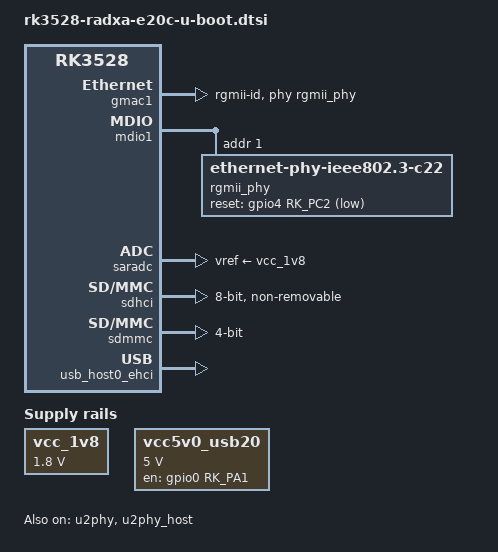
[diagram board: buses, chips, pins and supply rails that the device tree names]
// SPDX-License-Identifier: (GPL-2.0+ OR MIT)

#include "rk3528-u-boot.dtsi"

/ {
	aliases {
		ethernet0 = &gmac1;
	};

	vcc_1v8: regulator-1v8 {
		compatible = "regulator-fixed";
		regulator-name = "vcc_1v8";
		regulator-always-on;
		regulator-boot-on;
		regulator-min-microvolt = <1800000>;
		regulator-max-microvolt = <1800000>;
	};

	vcc5v0_usb20: regulator-5v0-usb20 {
		compatible = "regulator-fixed";
		enable-active-high;
		gpios = <&gpio0 RK_PA1 GPIO_ACTIVE_HIGH>;
		regulator-name = "vcc5v0_usb20";
		regulator-max-microvolt = <5000000>;
		regulator-min-microvolt = <5000000>;
	};
};

&gmac1 {
	clock_in_out = "output";
	phy-handle = <&rgmii_phy>;
	phy-mode = "rgmii-id";
	pinctrl-names = "default";
	pinctrl-0 = <&rgmii_miim>, <&rgmii_tx_bus2>, <&rgmii_rx_bus2>,
		    <&rgmii_rgmii_clk>, <&rgmii_rgmii_bus>;
	status = "okay";
};

&mdio1 {
	rgmii_phy: ethernet-phy@1 {
		compatible = "ethernet-phy-ieee802.3-c22";
		reg = <0x1>;
		reset-assert-us = <20000>;
		reset-deassert-us = <100000>;
		reset-gpios = <&gpio4 RK_PC2 GPIO_ACTIVE_LOW>;
	};
};

&saradc {
	vref-supply = <&vcc_1v8>;
	status = "okay";
};

&sdhci {
	bus-width = <8>;
	cap-mmc-highspeed;
	mmc-hs200-1_8v;
	no-sd;
	no-sdio;
	non-removable;
	pinctrl-names = "default";
	pinctrl-0 = <&emmc_bus8>, <&emmc_clk>, <&emmc_cmd>, <&emmc_strb>;
	status = "okay";
};

&sdmmc {
	bus-width = <4>;
	cap-sd-highspeed;
	disable-wp;
	no-mmc;
	no-sdio;
	pinctrl-names = "default";
	pinctrl-0 = <&sdmmc_bus4>, <&sdmmc_clk>, <&sdmmc_cmd>, <&sdmmc_det>;
	status = "okay";
};

&u2phy {
	status = "okay";
};

&u2phy_host {
	phy-supply = <&vcc5v0_usb20>;
	status = "okay";
};

&uart0 {
	pinctrl-names = "default";
	pinctrl-0 = <&uart0m0_xfer>;
};

&usb_host0_ehci {
	status = "okay";
};
